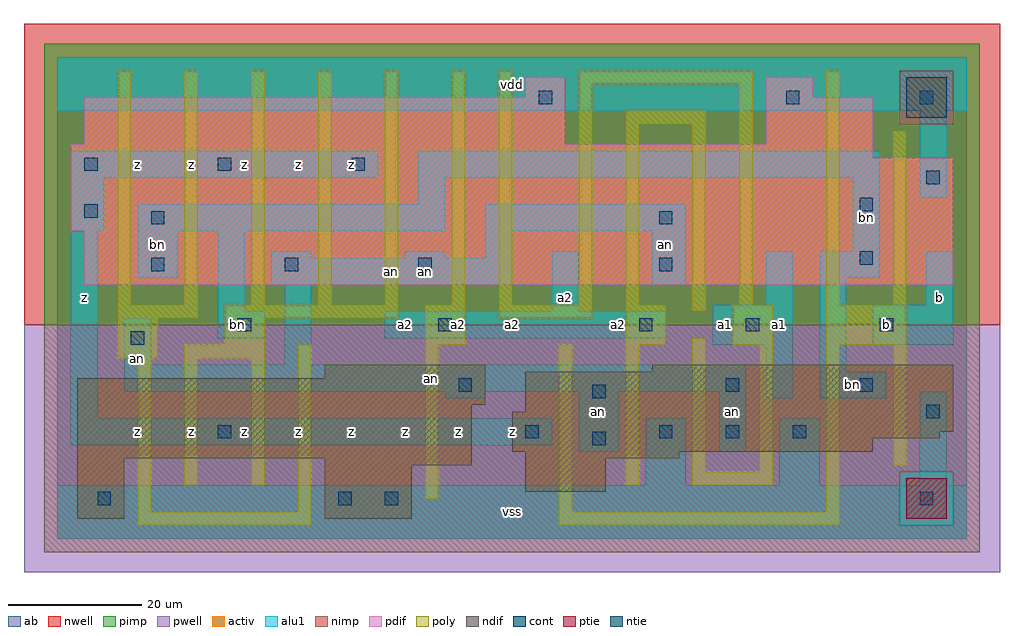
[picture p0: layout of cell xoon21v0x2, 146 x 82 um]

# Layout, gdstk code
import gdstk
lib = gdstk.Library(unit=1e-6, precision=1e-09)
def R(c, l, rs):  # rectangles x0, y0, x1, y1
    for r in rs: c.add(gdstk.rectangle(r[:2], r[2:], *l))
def A(c, l, x, y, w, h, nx, ny, dx, dy):  # array of equal rectangles
    R(c, l, [(x+i*dx, y+j*dy, x+i*dx+w, y+j*dy+h) for i in range(nx) for j in range(ny)])
ndif = (3, 0)
pdif = (4, 0)
ntie = (5, 0)
ptie = (6, 0)
cont = (25, 0)
pwell = (41, 0)
nwell = (42, 0)
activ = (43, 0)
pimp = (44, 0)
nimp = (45, 0)
poly = (46, 0)
alu1 = (49, 0)
ab = (63, 0)

xoon21v0x2 = lib.new_cell('xoon21v0x2')
R(xoon21v0x2, ndif, [(3,3,10,12), (40,3,53,11), (70,7,82,12), (40,11,62,12), (3,12,62,20), (70,12,93,13), (68,13,122,15), (68,15,132,16), (68,16,134,19), (70,19,134,25), (3,20,64,24), (40,24,64,26), (89,25,134,26)])
R(xoon21v0x2, pdif, [(4,38,134,46), (2,46,134,57), (2,57,122,59), (4,59,76,66), (106,59,122,66), (70,66,76,69), (106,66,113,69)])
R(xoon21v0x2, ntie, [(127,63,133,69)])
R(xoon21v0x2, ptie, [(127,3,133,9)])
A(xoon21v0x2, cont, 90, 15, 2, 2, 3, 1, 10, 0)
A(xoon21v0x2, cont, 27, 31, 2, 2, 3, 1, 30, 0)
A(xoon21v0x2, cont, 14, 40, 2, 2, 3, 1, 20, 0)
A(xoon21v0x2, cont, 4, 55, 2, 2, 3, 1, 20, 0)
R(xoon21v0x2, cont, [(6,5,8,7), (42,5,44,7), (49,5,51,7), (129,5,131,7), (80,14,82,16), (24,15,26,17), (70,15,72,17), (130,18,132,20), (80,21,82,23), (60,22,62,24), (100,22,102,24), (120,22,122,24), (11,29,13,31), (103,31,105,33), (123,31,125,33), (90,40,92,42), (120,41,122,43), (14,47,16,49), (90,47,92,49), (4,48,6,50), (120,49,122,51), (130,53,132,55), (72,65,74,67), (109,65,111,67), (129,65,131,67)])
R(xoon21v0x2, pwell, [(-5,-5,141,32)])
R(xoon21v0x2, nwell, [(-5,32,141,77)])
R(xoon21v0x2, activ, [(3,3,10,12), (40,3,53,11), (127,3,133,9), (70,7,82,12), (40,11,62,12), (3,12,62,20), (70,12,93,13), (68,13,122,15), (68,15,132,16), (68,16,134,19), (70,19,134,25), (3,20,64,24), (40,24,64,26), (89,25,134,26), (4,38,134,46), (2,46,134,57), (2,57,122,59), (4,59,76,66), (106,59,122,66), (127,63,133,69), (70,66,76,69), (106,66,113,69)])
R(xoon21v0x2, pimp, [(126,2,134,10), (-2,32,138,62), (-2,62,126,70), (134,62,138,70), (-2,70,138,74)])
R(xoon21v0x2, nimp, [(-2,-2,138,2), (-2,2,126,10), (134,2,138,10), (-2,10,138,32), (126,62,134,70)])
A(xoon21v0x2, poly, 9, 35, 2, 35, 6, 1, 10, 0)
R(xoon21v0x2, poly, [(12,2,38,4), (75,2,117,4), (12,4,14,27), (36,4,38,29), (75,4,77,29), (115,4,117,29), (55,6,57,29), (19,8,21,27), (29,8,31,27), (85,8,87,29), (95,8,107,10), (95,10,97,30), (105,10,107,29), (125,11,127,29), (9,27,15,33), (19,27,31,29), (25,29,31,33), (55,29,61,35), (85,29,91,35), (101,29,107,35), (115,29,127,35), (9,33,21,35), (25,33,51,35), (66,33,80,35), (95,34,97,62), (66,35,68,70), (78,35,80,68), (85,35,87,62), (102,35,104,68), (115,35,117,70), (125,35,127,61), (85,62,97,64), (78,68,104,70)])
R(xoon21v0x2, alu1, [(0,0,136,8), (88,8,94,18), (108,8,114,18), (129,8,133,22), (78,13,84,22), (99,13,103,22), (2,14,74,18), (2,18,6,46), (58,21,64,22), (106,21,110,29), (114,21,124,25), (10,22,103,26), (114,25,118,39), (10,26,14,33), (34,26,38,38), (98,29,110,35), (122,29,134,35), (24,30,31,34), (49,30,91,34), (24,34,28,46), (74,34,78,43), (106,35,110,43), (130,35,134,43), (32,38,68,42), (89,38,94,46), (12,39,18,46), (114,39,123,43), (32,42,38,43), (52,42,58,43), (64,42,68,46), (119,43,123,54), (2,46,7,54), (12,46,58,50), (64,46,94,50), (54,50,58,54), (129,51,133,64), (2,54,48,58), (54,54,123,58), (0,64,136,72)])
R(xoon21v0x2, ab, [(0,0,136,72)])
xoon21v0x2.add(gdstk.Label('an', (12,27), layer=49, texttype=0))
xoon21v0x2.add(gdstk.Label('bn', (27,32), layer=49, texttype=0))
xoon21v0x2.add(gdstk.Label('bn', (15,44), layer=49, texttype=0))
xoon21v0x2.add(gdstk.Label('an', (55,40), layer=49, texttype=0))
xoon21v0x2.add(gdstk.Label('an', (81,19), layer=49, texttype=0))
xoon21v0x2.add(gdstk.Label('an', (91,44), layer=49, texttype=0))
xoon21v0x2.add(gdstk.Label('an', (50,40), layer=49, texttype=0))
xoon21v0x2.add(gdstk.Label('an', (101,19), layer=49, texttype=0))
xoon21v0x2.add(gdstk.Label('an', (56,24), layer=49, texttype=0))
xoon21v0x2.add(gdstk.Label('bn', (119,23), layer=49, texttype=0))
xoon21v0x2.add(gdstk.Label('bn', (121,48), layer=49, texttype=0))
xoon21v0x2.add(gdstk.Label('z', (20,16), layer=49, texttype=0))
xoon21v0x2.add(gdstk.Label('z', (12,16), layer=49, texttype=0))
xoon21v0x2.add(gdstk.Label('z', (28,16), layer=49, texttype=0))
xoon21v0x2.add(gdstk.Label('z', (4,36), layer=49, texttype=0))
xoon21v0x2.add(gdstk.Label('z', (20,56), layer=49, texttype=0))
xoon21v0x2.add(gdstk.Label('z', (12,56), layer=49, texttype=0))
xoon21v0x2.add(gdstk.Label('z', (28,56), layer=49, texttype=0))
xoon21v0x2.add(gdstk.Label('z', (44,16), layer=49, texttype=0))
xoon21v0x2.add(gdstk.Label('z', (60,16), layer=49, texttype=0))
xoon21v0x2.add(gdstk.Label('z', (52,16), layer=49, texttype=0))
xoon21v0x2.add(gdstk.Label('z', (36,16), layer=49, texttype=0))
xoon21v0x2.add(gdstk.Label('a2', (52,32), layer=49, texttype=0))
xoon21v0x2.add(gdstk.Label('a2', (60,32), layer=49, texttype=0))
xoon21v0x2.add(gdstk.Label('z', (44,56), layer=49, texttype=0))
xoon21v0x2.add(gdstk.Label('z', (36,56), layer=49, texttype=0))
xoon21v0x2.add(gdstk.Label('vss', (68,4), layer=49, texttype=0))
xoon21v0x2.add(gdstk.Label('z', (68,16), layer=49, texttype=0))
xoon21v0x2.add(gdstk.Label('a2', (68,32), layer=49, texttype=0))
xoon21v0x2.add(gdstk.Label('a2', (84,32), layer=49, texttype=0))
xoon21v0x2.add(gdstk.Label('a1', (100,32), layer=49, texttype=0))
xoon21v0x2.add(gdstk.Label('a2', (76,36), layer=49, texttype=0))
xoon21v0x2.add(gdstk.Label('vdd', (68,68), layer=49, texttype=0))
xoon21v0x2.add(gdstk.Label('b', (124,32), layer=49, texttype=0))
xoon21v0x2.add(gdstk.Label('a1', (108,32), layer=49, texttype=0))
xoon21v0x2.add(gdstk.Label('b', (132,36), layer=49, texttype=0))

lib.write_gds('xoon21v0x2.gds')
